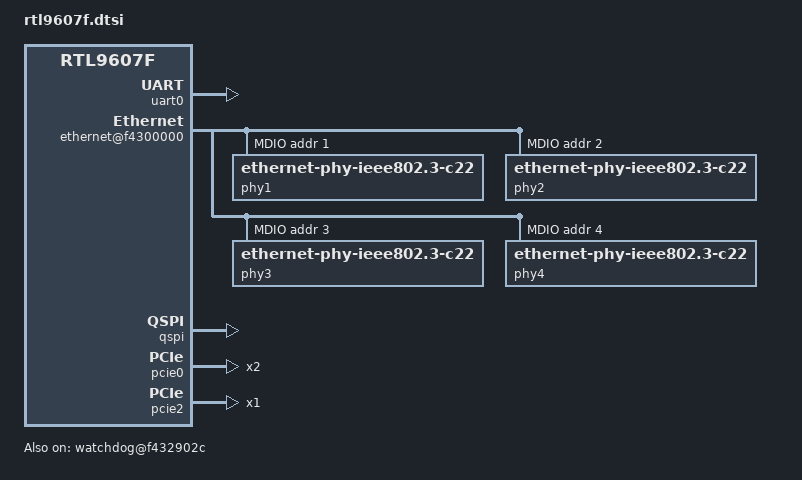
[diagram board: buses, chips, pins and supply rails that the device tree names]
// SPDX-License-Identifier: GPL-2.0-or-later

/* The RTL9607F (Elnath) SoC: everything a board on this chip shares.
 * A board file includes this and adds its model, RAM, panel and flash. */

/ {
	#address-cells = <0x02>;
	#size-cells = <0x02>;
	interrupt-parent = <&gic>;


	/* NI DMA pools and persistent crash records. */
	reserved-memory {
		#address-cells = <0x02>;
		#size-cells = <0x02>;
		ranges;

		/* ★★ build79: no-map so the CPU-EPP ring region is carved OUT of the RAM
		 * linear map -> memremap(MEMREMAP_WC) SUCCEEDS on it (build78's WC was
		 * REJECTED because a mapped System-RAM region can't be remapped WC).  The
		 * NE DMA is non-coherent, so the ring MUST be uncached; WC on a no-map
		 * carveout gives an uncached CPU view without touching NAPI/dma_sync. */
		ddr_cache_buffer: buf@bc48000 {
			no-map;
			reg = <0x00 0x0bc48000 0x00 0x20000>;
		};

		/*
		 * ★ CRASH TRACE (2026-08-20).  A reserved DRAM window pstore/ram
		 * writes a panic and a rolling console tail into, read back from
		 * /sys/fs/pstore on the NEXT boot.  Placed just above
		 * ddr_cache_buffer (which ends at 0x0bc68000) and clear of both NI
		 * DMA pools and of the 0x05000000 TFTP load region.
		 *
		 * NOT `no-map`, unlike its neighbours: those are carved OUT of the
		 * linear map precisely so memremap(WC) succeeds for the NE rings,
		 * whereas pstore/ram wants an ordinary mapping -- carving this one
		 * out is what would break it.
		 *
		 * It survives a panic or a watchdog bite and NOT a power cut: the
		 * records are DRAM.  Verified in place by
		 *   python3 ONU-test-case/crash_trace.py --board=... --probe
		 * which refuses a region falling outside this board's memory map.
		 */
		ramoops@bc80000 {
			compatible = "ramoops";
			reg = <0x00 0x0bc80000 0x00 0x20000>;	/* 128 KiB */
			record-size  = <0x00004000>;	/*  16 KiB per oops/panic */
			console-size = <0x00010000>;	/*  64 KiB rolling console */
		};

		ddr_noncache_buffer: buf@9000000 {
			no-map;
			reg = <0x00 0x09000000 0x00 0x1628800>;
		};

		/* BL31's TrustZone buffer ("SECURE DRAM SIZE is 0x00040000" at every
		 * boot; stock's tz_buffer).  Left as RAM, the slab allocator took a
		 * page of it and the aborted write panicked the board with an SError
		 * (2026-09-24, PA 0x0ffec000).  Guarded by dts_vs_measured.py
		 * FIRMWARE_CARVEOUTS. */
		tz_buffer@ffc0000 {
			no-map;
			reg = <0x00 0x0ffc0000 0x00 0x40000>;
		};
	};


	psci {
		compatible = "arm,psci-0.2";
		method = "smc";
	};


	cpus {
		#address-cells = <0x02>;
		#size-cells = <0x00>;

		cpu0: cpu@0 {
			device_type = "cpu";
			compatible = "arm,cortex-a55";
			reg = <0x00 0x00>;
			enable-method = "psci";
		};

		cpu1: cpu@100 {
			device_type = "cpu";
			compatible = "arm,cortex-a55";
			reg = <0x00 0x100>;
			enable-method = "psci";
		};
	};


	timer {
		compatible = "arm,armv8-timer";
		/* secure, non-secure, virtual, hypervisor PPIs (13/14/11/10) */
		interrupts = <0x01 0x0d 0xff08>,
			     <0x01 0x0e 0xff08>,
			     <0x01 0x0b 0xff08>,
			     <0x01 0x0a 0xff08>;
	};


	gic: interrupt-controller@4f8000000 {
		compatible = "arm,gic-v3";
		#interrupt-cells = <0x03>;
		#redistributor-regions = <0x01>;
		interrupt-controller;
		/* GICD @ 0x4_f8000000 (64 KiB), GICR @ 0x4_f8040000 (512 KiB) */
		reg = <0x04 0xf8000000 0x00 0x10000>,
		      <0x04 0xf8040000 0x00 0x80000>;
		interrupts = <0x01 0x09 0x04>;
	};


	uart_clk: uart-clk {
		compatible = "fixed-clock";
		#clock-cells = <0x00>;
		clock-frequency = <125000000>;	/* 125 MHz APB */
	};


	uart0: serial@f43291c0 {
		compatible = "cortina,serial";
		reg = <0x00 0xf43291c0 0x00 0x30>;
		interrupts = <0x00 0x04 0x04>;	/* GIC SPI 4, level-high */
		clocks = <&uart_clk>;
		clock-frequency = <125000000>;
		status = "okay";
	};


	/*
	 * The G3 APB peripheral clock. Named after the silicon's own name for
	 * it rather than after the first consumer that needed it: it feeds the
	 * whole peripheral block, and calling it "uart" would send the next
	 * reader looking for a serial dependency the watchdog does not have.
	 */
	apb_clk: g3-apb-pclk {
		compatible = "fixed-clock";
		#clock-cells = <0x00>;
		clock-frequency = <125000000>;	/* 125 MHz APB */
	};


	/*
	 * Hardware watchdog (PER_WDT). Three register windows, all taken from
	 * this board's own live device tree:
	 *
	 *   0  0xf432902c  the 12-register PER_WDT block
	 *   1  0xf43200c8  GLOBAL_GLOBAL_CONFIG -- the SoC reset enables that
	 *                  turn an expired counter into an actual reset. They
	 *                  are outside the block, which is why the driver takes
	 *                  a second window; the word also holds power-down bits
	 *                  for other subsystems, so it is read-modify-written.
	 *   2  0xf43203c8  GLOBAL_DDR_RESET_MODE. Declared to keep the binding
	 *                  faithful to the vendor's; NOT consumed -- this part
	 *                  resets DDR cold and the register reads 0 on a working
	 *                  device, so there is nothing for us to set.
	 *
	 * delay-reset is in 16 kHz cycles: 134 -> 8.4 ms between the expiry
	 * event and the reset, matching what the vendor firmware programs.
	 *
	 * The expiry INTERRUPT is deliberately not described. It is routed
	 * through a peripheral interrupt controller this port has no driver
	 * for, and it is optional in the binding: it only carries a
	 * notification for boards that want the timeout WITHOUT a reset. With
	 * reset-on-timeout the hardware restarts the SoC by itself.
	 */
	watchdog@f432902c {
		compatible = "cortina,wdt";
		reg = <0x00 0xf432902c 0x00 0x30>,
		      <0x00 0xf43200c8 0x00 0x04>,
		      <0x00 0xf43203c8 0x00 0x04>;
		clocks = <&apb_clk>;
		reset-on-timeout;
		delay-reset = <0x86>;	/* 134 */
		status = "okay";
	};


	/*
	 * Cortina NI (network engine) — the RTL9607F Ethernet packet engine.
	 * 22 register windows read BY POSITIONAL INDEX (null placeholder slots
	 * keep their position). resets=/pinctrl-0/nvmem-cells are deliberately
	 * OMITTED for M2: the bootloader already de-asserted/muxed the NI (it
	 * TFTPs through it), so of_*_get soft-fails and the driver continues.
	 */
	ethernet@f4300000 {
		compatible = "cortina,ni-interface";
		reg = <0x04 0xf4300000 0x00 0x10000  0x04 0xf4320194 0x00 0x10
		       0x04 0xf4329128 0x00 0x48     0x00 0xf4500000 0x00 0x2000
		       0x04 0xf7001000 0x00 0x1000   0x00 0x80000000 0x00 0x2c000
		       0x00 0x0bc48000 0x00 0x20000  0x01 0x09000000 0x00 0x1628800
		       0x04 0xf5500000 0x00 0xc000   0x04 0xf4320000 0x00 0x1000
		       0x04 0xf432d000 0x00 0x20b8   0x04 0xf4600000 0x00 0x100000
		       0x04 0x00 0x00 0x00           0x04 0xf4330000 0x00 0x10000
		       0x04 0xd000 0x00 0x00         0x04 0xf4700000 0x00 0x100
		       0x00 0x90301000 0x00 0x2000   0x04 0x00 0x00 0x00
		       0x00 0x90300800 0x00 0xb8     0x00 0x90300900 0x00 0x10
		       0x00 0x90300a00 0x00 0xec     0x00 0x90300b00 0x00 0x3c4>;
		interrupt-parent = <&gic>;
		interrupts = <0x00 0x54 0x04>, <0x00 0x55 0x04>, <0x00 0x56 0x04>, <0x00 0x57 0x04>,
			     <0x00 0x58 0x04>, <0x00 0x59 0x04>, <0x00 0x5a 0x04>, <0x00 0x5b 0x04>,
			     <0x00 0x4c 0x04>, <0x00 0x4d 0x04>, <0x00 0x4e 0x04>, <0x00 0x4f 0x04>,
			     <0x00 0x48 0x04>, <0x00 0x49 0x04>, <0x00 0x4a 0x04>, <0x00 0x4b 0x04>;
		memory-region = <&ddr_cache_buffer>, <&ddr_noncache_buffer>;
		/* ★★ 2026-07-15: NO dma-coherent - the NE runs FULLY NON-COHERENT on our
		 * kernel.  The ACE/coherent fabric path does not work here even though it
		 * does on stock: the CPU-EPP descriptor writeback with the stock coherent
		 * attr 0x12008060 raised QM_INT_SRC bit30 (axim_cpuepp_resp_error) per frame
		 * and never reached DRAM, and the DMA-LSO ACE descriptor fetch (usr_pat
		 * ace_cmd) never completed (TXQ rptr pinned 0).  Every DMA path is therefore
		 * explicitly non-coherent now: RX ring + RX pool are memremap-WC with the
		 * non-coherent QM AXI attrs, and the TX rings/buffers rely on the DMA API's
		 * cache maintenance - which dma-coherent would silently DISABLE (it makes
		 * dma_alloc_coherent return cached memory and dma_map_single skip the cache
		 * clean).  (The old build51 note claimed dma-coherent made the coherent
		 * writeback work; live 0x611c bit30 + poison descriptors disproved that.) */

		ethernet@0 {
			local-mac-address = [00 00 00 00 00 00];
		};

		mdio {
			#address-cells = <0x01>;
			#size-cells = <0x00>;

			phy1: phy@1 { compatible = "ethernet-phy-ieee802.3-c22"; reg = <0x01>; };
			phy2: phy@2 { compatible = "ethernet-phy-ieee802.3-c22"; reg = <0x02>; };
			phy3: phy@3 { compatible = "ethernet-phy-ieee802.3-c22"; reg = <0x03>; };
			phy4: phy@4 { compatible = "ethernet-phy-ieee802.3-c22"; reg = <0x04>; };
		};
	};


	/*
	 * Cortina-Access QSPI flash controller -> the boot SPI-NAND (Fudan
	 * FM25S01A, 128 MiB / 128 KiB blocks / 2 KiB pages, in the mainline
	 * SPI-NAND table).  Layout mirrors the stock mtdparts (live-verified
	 * on stock: "ca_spinand_flash:2048K(boot),256K@0x280000(env),
	 * 256K@0x2C0000(env2),256K@0x300000(static_conf),
	 * 251648K@0x340000(ubi_device)"; the last one truncates to the
	 * 128 MiB device end = 0x7cc0000).  The 0x200000-0x280000 gap is the
	 * vendor bad-block-list area - deliberately unmapped.
	 *
	 * ★ EVERY partition is read-only: this OpenWrt runs from RAM and must
	 * NEVER write the NAND (stock firmware + per-board factory data live
	 * there).  The read-only flags also force the UBI attach (bootargs
	 * ubi.mtd=ubi_device) into ro mode.  ubi_Config/config_hs.xml is the
	 * per-board provisioning source, read at boot from userspace: the base
	 * MAC (ELAN_MAC_ADDR) by the 05_factory_mac uci-defaults script, and the
	 * GPON serial number (GPON_SN) by /etc/init.d/gpon-identity, which pushes
	 * it into the GPON driver (cortina-gpon holds ranging off until it has it).
	 */
	qspi: spi@f4324000 {
		compatible = "cortina,ca-qspi";
		reg = <0x04 0xf4324000 0x00 0x50>;
		reg-names = "qspi-base";
		#address-cells = <0x01>;
		#size-cells = <0x00>;
		spi-tx-bus-width = <0x01>;
		spi-rx-bus-width = <0x01>;
	};


	/*
	 * Cortina GPON MAC (CA8277C class) — PON register window 0x4_F5500000,
	 * 48 KiB; the GPON MAC block sits at window + 0x6000.  Validated on real
	 * hardware: the vendor-id register reads ASCII "XPON" (the ONU serial
	 * number prefix).  The same window is also listed positionally in the
	 * cortina,ni-interface node; the gpon driver ioremaps it non-exclusively.
	 */
	gpon@f5500000 {
		compatible = "realtek,rtl9607f-gpon";
		reg = <0x04 0xf5500000 0x00 0xc000>;
		/*
		 * The GPON MAC has no dedicated GIC SPI: its int_top feeds
		 * GLOBAL_PON_INTERRUPT_0 (GLB+0x180, PON_MACi bit0), which is
		 * line 5 of the NE global sub-controller ne_ictl@0xf4320194
		 * (cortina,per-ictl: +0 STATUS/+4 ENABLE), whose output is
		 * GIC SPI 1 (stock DTB: ne_ictl interrupts = <0 1 4>, child
		 * pon_ictl@0 interrupts = <5>).  We carry no per-ictl irqchip,
		 * so the gpon driver takes GIC SPI 1 directly (IRQF_SHARED)
		 * and manages the PON_MACe / ne_ictl-line-5 gates itself.
		 */
		interrupts = <0x00 0x01 0x04>;	/* GIC SPI 1, level-high (NE global) */
	};


	/*
	 * PCIe root complex "pcie0" -> 5 GHz WiFi endpoint [10ec:c852] RTW8852CE
	 * (WiFi 6, mainline rtw89).  Faithful to the board's stock DTB (mtd6 UBI
	 * DTB0): reg map, GIC SPI 44/45, pci-domain 0, num-lanes 2 (the endpoint
	 * trains Gen2 x1), and the authentic revB v1.1 (2024.06.04) SerDes table.
	 * clocks/resets/phys are omitted like pcie2: the glue drives the rstmgr/
	 * GPIO registers directly (S0_* masks, gate_pcie0 bits 10/22 in GLB 0xc8).
	 * MUST stay ordered BEFORE pcie2: stock brings pcie0/S0 up first -- its
	 * 2-lane LONG RX-cal preconditions the SHARED SerDes analog that pcie2's
	 * SHORT cal depends on (probe order follows DT order).
	 * NOTE: the glue's pcie0 path applies its RE'd table (identical pairs) to
	 * lane0 only, as proven live; serdes-cfg-dataB is carried for fidelity.
	 * ★ XTAL FLAG: non-40M variant, same as pcie2.
	 */
	pcie0: pcie@f4325000 {
		compatible = "cortina,venus-pcie";
		reg = <0x00 0xf4325000 0x00 0x400>,	/* glbl_regs   */
		      <0x00 0xa0000000 0x00 0x1000>,	/* rc_dbi      */
		      <0x00 0xa0001000 0x00 0x2000>,	/* config      */
		      <0x00 0xa0300000 0x00 0x100000>,	/* iatu        */
		      <0x00 0xf4333000 0x00 0x2000>;	/* serdes_phy  */
		reg-names = "glbl_regs", "rc_dbi", "config", "iatu", "serdes_phy";

		device_type = "pci";
		#address-cells = <0x03>;
		#size-cells = <0x02>;
		bus-range = <0x00 0xff>;
		ranges = <0x81000000 0x00 0x00        0x00 0xa0003000 0x00 0x10000>,	/* downstream I/O  */
			 <0x82000000 0x00 0xa0400000 0x00 0xa0400000 0x00 0xfc00000>;	/* non-prefetch mem */

		id = <0x00>;
		num-viewport = <0x01>;
		num-lanes = <0x02>;
		linux,pci-domain = <0x00>;

		interrupts = <0x00 0x2c 0x04>, <0x00 0x2d 0x04>;	/* GIC SPI 44,45 level-high (stock) */

		/* Stock DTB pcie0 serdes-cfg-dataB, revB v1.1 (2024.06.04), 25 MHz XTAL. */
		serdes-cfg-dataB = <0x04 0xa855 0x08 0x60c6 0x10 0x4000 0x18 0x1f 0x20 0x3591 0x28 0xf610 0x2c 0xa91d 0x30 0xc008 0x34 0xf732 0x38 0x1000 0x74 0xca1f 0x78 0xe0e2 0x80 0xd488 0x84 0x77dd 0x88 0x23 0x8c 0x1b63 0x90 0x4f30 0x9c 0x61d6 0xa0 0xf802 0xac 0xb813 0xc0 0x55 0xc8 0xf0f3 0x24 0x520c 0x104 0xa84a 0x108 0x60c6 0x110 0x4000 0x118 0x1f 0x120 0x3591 0x128 0xf610 0x12c 0xa91d 0x130 0xc008 0x134 0xf732 0x138 0x1000 0x174 0xda1f 0x178 0xe0e2 0x188 0x23 0x18c 0x1b63 0x190 0x4f0c 0x19c 0x61d6 0x1a0 0xf802 0x1ac 0xb813 0x1bc 0xe900 0x1c0 0x4a 0x1c8 0xf0f3 0x124 0x520c>;

		status = "okay";

		#interrupt-cells = <0x01>;
		interrupt-map-mask = <0x00 0x00 0x00 0x07>;
		interrupt-map = <0x00 0x00 0x00 0x01 &pcie0_intc 0x00>,	/* INT A */
				<0x00 0x00 0x00 0x02 &pcie0_intc 0x01>,	/* INT B */
				<0x00 0x00 0x00 0x03 &pcie0_intc 0x02>,	/* INT C */
				<0x00 0x00 0x00 0x04 &pcie0_intc 0x03>;	/* INT D */

		pcie0_intc: interrupt-controller {
			interrupt-controller;
			#address-cells = <0x00>;
			#interrupt-cells = <0x01>;
		};
	};


	/*
	 * PCIe root complex "pcie2" -> 2.4 GHz WiFi endpoint [10ec:0192] RTL8192F.
	 * Faithful to the board's stock DTB (mtd6 UBI DTB0): reg map, GIC SPI 46/47,
	 * pci-domain 1, and the authentic revB v1.1 (2024.06.04) SerDes table.
	 * clocks/resets/phys/iommus are omitted for bring-up (the glue treats them
	 * optional and the bootloader already ungated the PCIe clocks).
	 * ★ XTAL FLAG: this is the non-40M SerDes variant; if this board runs a
	 * 40 MHz crystal, replace the pairs with the stock serdes-cfg-dataB_40M set.
	 */
	pcie2: pcie@f4327000 {
		compatible = "cortina,venus-pcie";
		reg = <0x00 0xf4327000 0x00 0x400>,	/* glbl_regs   */
		      <0x00 0xc0000000 0x00 0x1000>,	/* rc_dbi      */
		      <0x00 0xc0001000 0x00 0x2000>,	/* config      */
		      <0x00 0xc0300000 0x00 0x100000>,	/* iatu        */
		      <0x00 0xf4337000 0x00 0x1000>;	/* serdes_phy  */
		reg-names = "glbl_regs", "rc_dbi", "config", "iatu", "serdes_phy";

		device_type = "pci";
		#address-cells = <0x03>;
		#size-cells = <0x02>;
		bus-range = <0x00 0xff>;
		ranges = <0x81000000 0x00 0x00        0x00 0xc0003000 0x00 0x10000>,	/* downstream I/O  */
			 <0x82000000 0x00 0xc0400000 0x00 0xc0400000 0x00 0xfc00000>;	/* non-prefetch mem */

		id = <0x02>;
		num-viewport = <0x01>;
		num-lanes = <0x01>;
		linux,pci-domain = <0x01>;

		interrupts = <0x00 0x2e 0x04>, <0x00 0x2f 0x04>;	/* GIC SPI 46,47 level-high (stock) */

		/* 25 MHz-XTAL SerDes table (from a live stock dump).  It carries stock's
		 * low-block CMU/analog config (0x08/0x0c/0x14/0x1c, 0x3c-0x50, 0x68/0x94/0x98/
		 * 0xa4/0xa8/0xb0/0xb4/0xb8) which the stock DTB write-list omits (it relies on
		 * them being HW/cal defaults) -- these are what LOCK the CMU cold (bare
		 * write-list alone reads 0x500e = unlocked; +these -> 0x780e).  page0 also uses
		 * the RX manual-override VALUES (0x2c=0xa91d bit4 SET, 0x90=0x4f28) so the RX
		 * front-end locks from the fixed code applied IN-RESET (the CMU only locks during
		 * the in-reset table apply; an out-of-reset runtime cal drops the lock and cannot
		 * re-lock on this revB silicon).  Result: CMU+CDR lock cold 0x780e.  Each page
		 * ends with the 0x24/0x124 bit9 cal edge. */
		serdes-cfg-dataB = <0x04 0xa855 0x10 0x5000 0x18 0x1f 0x20 0x3591 0x24 0x520c 0x28 0xc670 0x2c 0xa90d 0x30 0xc008 0x34 0xf732 0x38 0x5000 0x64 0x7d63 0x6c 0xea1 0x70 0x2001 0x74 0xda1f 0x78 0x66eb 0x80 0xd488 0x84 0x77dd 0x88 0x23 0x8c 0x1b63 0x90 0x4f30 0x9c 0x1d6 0xa0 0xf802 0xac 0xb8d3 0xbc 0x7055 0xc8 0xf0f3 0x24 0x500c 0x24 0x520c 0x104 0xa84a 0x110 0x5000 0x118 0x1f 0x120 0x3591 0x124 0x520c 0x128 0xc670 0x12c 0xa90d 0x130 0xc008 0x134 0xf732 0x138 0x5000 0x164 0x7d63 0x16c 0xf41 0x170 0x2001 0x174 0xda1f 0x180 0xd4aa 0x188 0x23 0x18c 0x1b63 0x190 0x4f0c 0x19c 0x1d6 0x1a0 0xf802 0x1ac 0xb9d3 0x1bc 0xd04a 0x1c8 0xf0f3 0x124 0x500c 0x124 0x520c>;  /* AUTO table (0x2c=0xa90d): the LONG-cal ramp runs the HW cal engine (needs auto mode); manual mode blocks cal-done (bit4). */

		/* M3a/M3b PCIe bring-up boot: enabled to test the clean-room glue in
		 * isolation (WiFi driver not yet built) — expect "cortina-pcie … Link up"
		 * + [10ec:0192] endpoint enumeration.  If the glue SErrors on serdes MMIO,
		 * the boot log will show it. */
		status = "okay";

		#interrupt-cells = <0x01>;
		interrupt-map-mask = <0x00 0x00 0x00 0x07>;
		interrupt-map = <0x00 0x00 0x00 0x01 &pcie2_intc 0x00>,	/* INT A */
				<0x00 0x00 0x00 0x02 &pcie2_intc 0x01>,	/* INT B */
				<0x00 0x00 0x00 0x03 &pcie2_intc 0x02>,	/* INT C */
				<0x00 0x00 0x00 0x04 &pcie2_intc 0x03>;	/* INT D */

		pcie2_intc: interrupt-controller {
			interrupt-controller;
			#address-cells = <0x00>;
			#interrupt-cells = <0x01>;
		};
	};


	/*
	 * ======================= FRONT PANEL: GPIO, LEDs, BUTTONS ==============
	 *
	 * The SoC's peripheral GPIO block is five 32-pin groups, three words each
	 * (CFG/OUT/IN) at PERI + 0x300 + 0x24 * group, plus one pin-mux word per
	 * group at GLB + 0x130 + 4 * group where setting bit N routes pin N to the
	 * GPIO block.  One node per group, so only the three groups this board
	 * actually uses are mapped; the second reg entry is that group's mux word,
	 * which the driver OR-s the requested pin into (we build without PINCTRL,
	 * so nothing else would route the pad).
	 *
	 * Only CFG/OUT/IN are mapped (length 0xc).  The rest of each 0x24 bank
	 * block is interrupt logic, which the driver does not implement — hence the
	 * buttons below are gpio-keys-POLLED.
	 *
	 * ★ Shared with the GPON driver: cortina-gpon's cg_laser_on() also writes
	 * these same CFG/OUT words for the BOSA/laser nets it owns, including
	 * whole-register stores to groups 3 and 4.  That is why this driver only
	 * ever read-modify-writes single bits and maps the window non-exclusively.
	 * A consequence to be aware of: the GPON driver re-applies stock's group-3
	 * snapshot on every (re-)activation, which momentarily forces the LED levels
	 * on this list; the panel daemon re-asserts them on its next poll.
	 */
	gpio0: gpio@f4329300 {
		compatible = "cortina,ca77xx-gpio";
		reg = <0x04 0xf4329300 0x00 0x0c>,	/* group 0 CFG/OUT/IN   */
		      <0x04 0xf4320130 0x00 0x04>;	/* group 0 pin-mux word */
		gpio-controller;
		#gpio-cells = <0x02>;
		ngpios = <0x10>;
	};


	gpio3: gpio@f432936c {
		compatible = "cortina,ca77xx-gpio";
		reg = <0x04 0xf432936c 0x00 0x0c>,	/* group 3 CFG/OUT/IN   */
		      <0x04 0xf432013c 0x00 0x04>;	/* group 3 pin-mux word */
		gpio-controller;
		#gpio-cells = <0x02>;
		ngpios = <0x19>;
	};


	gpio4: gpio@f4329390 {
		compatible = "cortina,ca77xx-gpio";
		reg = <0x04 0xf4329390 0x00 0x0c>,	/* group 4 CFG/OUT/IN   */
		      <0x04 0xf4320140 0x00 0x04>;	/* group 4 pin-mux word */
		gpio-controller;
		#gpio-cells = <0x02>;
		ngpios = <0x11>;
	};
};
